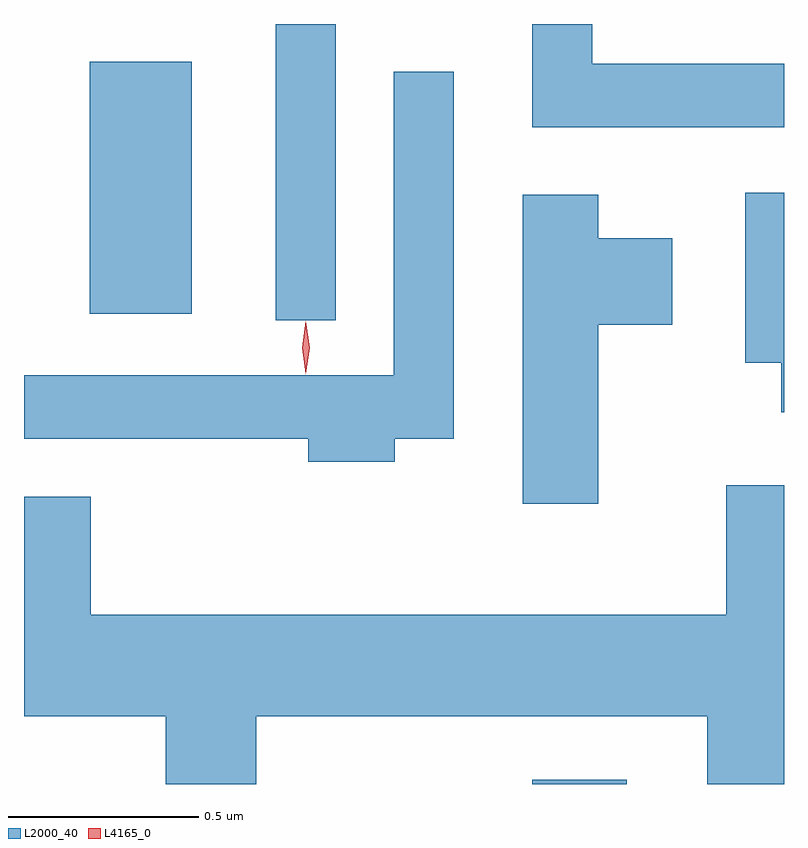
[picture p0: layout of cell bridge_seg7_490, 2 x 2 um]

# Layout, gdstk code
import gdstk
lib = gdstk.Library(unit=1e-6, precision=1e-09)
def R(c, l, rs):  # rectangles x0, y0, x1, y1
    for r in rs: c.add(gdstk.rectangle(r[:2], r[2:], *l))
def P(c, l, *ps):  # polygons
    for p in ps: c.add(gdstk.Polygon(p, *l))
L2000_40 = (2000, 40)
L4165_0 = (4165, 0)

bridge_seg7_490 = lib.new_cell('bridge_seg7_490')
R(bridge_seg7_490, L2000_40, [(1118.121,1698.598,1118.369,1698.609), (1117.446,1699.818,1117.604,1700.598), (1116.956,1699.836,1117.224,1700.499)])
P(bridge_seg7_490, L2000_40, [(1118.783,1700.494),(1118.279,1700.494),(1118.279,1700.598),(1118.121,1700.598),(1118.121,1700.326),(1118.783,1700.326)],
  [(1117.759,1699.506),(1117.914,1699.506),(1117.914,1700.473),(1117.756,1700.473),(1117.756,1699.674),(1116.783,1699.674),(1116.783,1699.506),(1117.531,1699.506),(1117.531,1699.446),(1117.759,1699.446)],
  [(1118.783,1700.154),(1118.681,1700.154),(1118.681,1699.706),(1118.776,1699.706),(1118.776,1699.576),(1118.783,1699.576)],
  [(1118.294,1699.806),(1118.489,1699.806),(1118.489,1700.034),(1118.294,1700.034),(1118.294,1700.149),(1118.096,1700.149),(1118.096,1699.336),(1118.294,1699.336)],
  [(1117.394,1698.776),(1118.581,1698.776),(1118.581,1698.598),(1118.783,1698.598),(1118.783,1699.384),(1118.631,1699.384),(1118.631,1699.044),(1116.959,1699.044),(1116.959,1699.354),(1116.783,1699.354),(1116.783,1698.776),(1117.156,1698.776),(1117.156,1698.598),(1117.394,1698.598)])
P(bridge_seg7_490, L4165_0, [(1117.524,1699.677),(1117.515,1699.746),(1117.524,1699.816),(1117.525,1699.816),(1117.525,1699.816),(1117.535,1699.746),(1117.525,1699.677),(1117.525,1699.677)])

lib.write_gds('bridge_seg7_490.gds')
